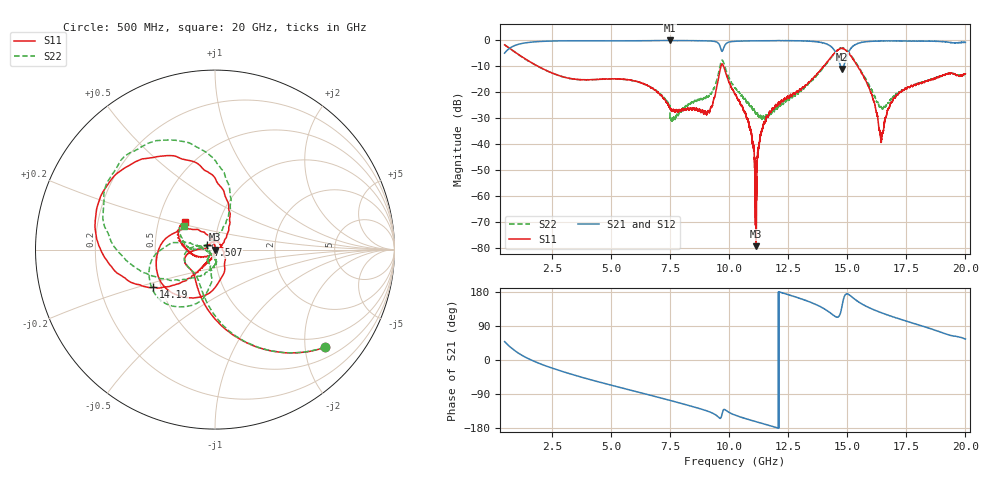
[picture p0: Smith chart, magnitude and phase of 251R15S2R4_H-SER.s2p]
!{251R15S2R4}
!Johanson Technology Inc.
!www.johansontechnology.com
!Test Board Conditions:
!Substrate Type  RO4350B
!Substrate Thickness  20 mil
!Substrate Dk  3.66
!TL Type: GCPW
!TL Trace Width  34 mil
!TL Gap  10 mil
!Electrode orientation  Horizontal
!DUT TOPOLOGY	SERIES
!Mounting Pad LxW  26x52 mil
! Created Thu Mar 12 16:38:56 2020
# mhz S ma R 50
! 2 Port Network Data from SP1.SP block
! freq  magS11  angS11  magS21  angS21  magS12  angS12  magS22  angS22
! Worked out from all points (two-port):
!   19501 points, 500 MHz to 20 GHz, reference 50 ohm
!   highest |S21| = -0.04 dB at 7.487 GHz (marker M1); lowest = -11.0 dB at 14.78 GHz (marker M2)
!   |S21| within 3 dB of the highest: 712.2 MHz to 9.645 GHz (8.933 GHz wide, 172 % of centre); 15.16 GHz to end of sweep (the widest 2 of 3)
!   lowest |S11| = -79.1 dB at 11.15 GHz (marker M3), VSWR 1.00, Z = 50 - j0.00819 ohm
!   |S11| at or under -10 dB: 1.922 GHz to 9.655 GHz (7.734 GHz wide, 134 % of centre); 9.767 GHz to 14 GHz (4.23 GHz wide, 35.6 % of centre); 15.45 GHz to end of sweep
!   |S22| runs from -31.1 to -1.7 dB; largest |S21 - S12| = 0.018
!   S11 on the Smith chart (normalised r, x): 500 MHz: 0.73, -2.44; 7.507 GHz: 0.92, +0.04; 14.19 GHz: 0.45, -0.23; 20 GHz: 0.69, +0.22
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500  0.8203 -41.6  0.5681 48.6  0.57 48.7  0.8177 -41.7
1663  0.366 -92.7  0.9268 -0.9  0.927 -0.9  0.3646 -90.4
3750  0.1753 -136.2  0.9807 -45.2  0.9817 -45.2  0.1745 -132.1
7000  0.09974 178.8  0.991 -98.4  0.9915 -98.4  0.102 168.4
7487  0.05083 172.0  0.9958 -106.4  0.9945 -106.4  0.05565 160.2
7507  0.04852 150.7  0.9912 -106.7  0.9908 -106.8  0.03214 175.6
9113  0.04404 12.1  0.9787 -135.5  0.9786 -135.6  0.08144 -113.0
9714  0.3505 -153.8  0.6186 -139.0  0.6223 -139.0  0.4154 -146.1
10250  0.09156 116.4  0.9612 -145.4  0.9621 -145.5  0.1208 165.5
10863  0.02139 95.8  0.9758 -157.7  0.9768 -157.8  0.05603 -179.2
11148  0.0001108 -132.3  0.9802 -163.0  0.9807 -162.9  0.03858 -165.0
11316  0.0144 -98.0  0.9794 -166.0  0.9814 -165.9  0.03547 -146.3
11651  0.03417 -102.7  0.986 -171.9  0.9852 -171.9  0.03349 -109.6
13500  0.1775 -128.7  0.9562 151.0  0.9619 151.0  0.1692 -118.7
14189  0.4029 -148.7  0.8257 128.6  0.8336 128.2  0.3885 -158.6
14781  0.7018 152.0  0.2824 142.9  0.2794 142.7  0.7196 137.4
15356  0.3633 86.7  0.8333 158.7  0.8275 158.7  0.3751 78.7
15992  0.1002 49.5  0.9565 136.2  0.9584 136.1  0.1169 69.2
16426  0.01161 -33.8  0.9756 125.2  0.9707 125.0  0.05308 115.0
16750  0.04926 -132.5  0.9793 118.0  0.9741 117.7  0.06293 163.3
17641  0.1237 -167.0  0.9697 100.0  0.9681 99.4  0.1266 178.5
20000  0.2264 137.3  0.9147 55.3  0.9121 55.3  0.2162 142.6
